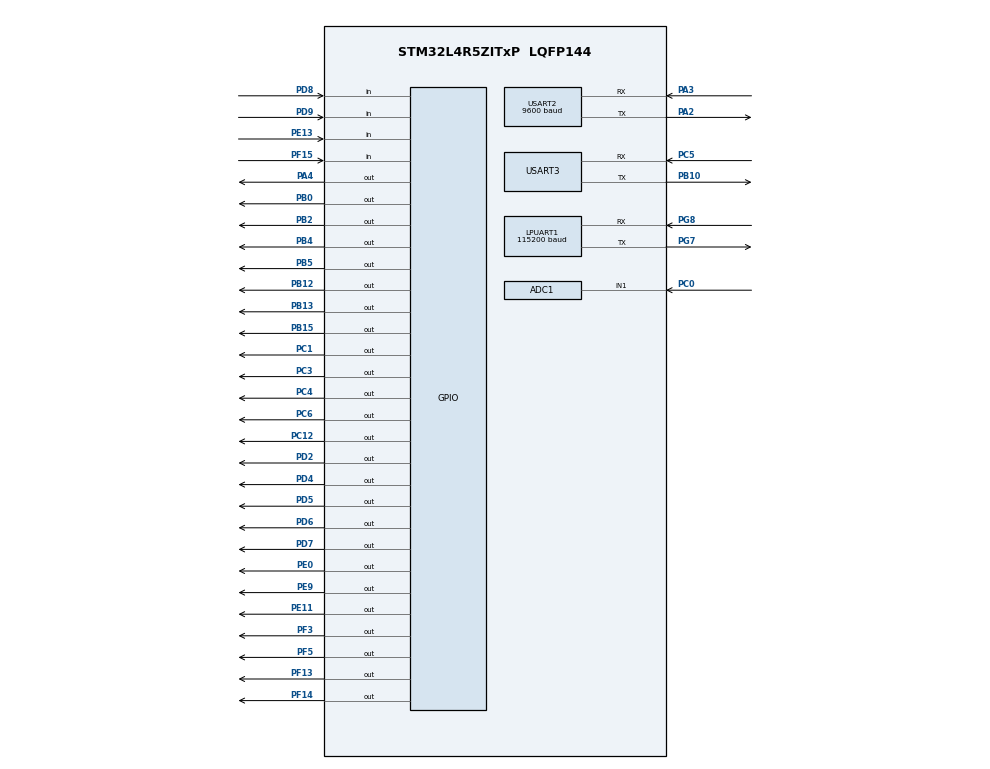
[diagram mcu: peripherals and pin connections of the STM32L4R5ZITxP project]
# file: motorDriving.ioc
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ADC1.Channel-0\#ChannelRegularConversion=ADC_CHANNEL_1
ADC1.ClockPrescaler=ADC_CLOCK_ASYNC_DIV32
ADC1.NbrOfConversionFlag=1
ADC1.OffsetNumber-0\#ChannelRegularConversion=ADC_OFFSET_NONE
ADC1.Rank-0\#ChannelRegularConversion=1
ADC1.SamplingTime-0\#ChannelRegularConversion=ADC_SAMPLETIME_640CYCLES_5
ADC1.master=1
LPUART1.BaudRate=115200
LPUART1.WordLength=UART_WORDLENGTH_8B
Mcu.Family=STM32L4
Mcu.Name=STM32L4R5ZITxP
Mcu.Package=LQFP144
NVIC.PriorityGroup=NVIC_PRIORITYGROUP_4
PA0.Signal=S_TIM2_CH1
PA1.Signal=ADCx_IN6
PA10.Signal=USB_OTG_FS_ID
PA13\ (JTMS/SWDIO).Signal=SYS_JTMS-SWDIO
PA14\ (JTCK/SWCLK).Signal=SYS_JTCK-SWCLK
PA2.Mode=Asynchronous
PA2.Signal=USART2_TX
PA3.Mode=Asynchronous
PA3.Signal=USART2_RX
PA4.Signal=GPIO_Output
PA5.Signal=SPI1_SCK
PA6.Signal=SPI1_MISO
PA7.Signal=SPI1_MOSI
PA8.Signal=USB_OTG_FS_SOF
PA9.Signal=USB_OTG_FS_VBUS
PB0.Signal=GPIO_Output
PB1.Signal=ADCx_IN16
PB10.Mode=Asynchronous
PB10.Signal=USART3_TX
PB12.Signal=GPIO_Output
PB13.Signal=GPIO_Output
PB14.Signal=S_TIM15_CH1
PB15.Signal=GPIO_Output
PB2.Signal=GPIO_Output
PB3\ (JTDO/TRACESWO).Signal=SPI3_SCK
PB4\ (NJTRST).Signal=GPIO_Output
PB5.Signal=GPIO_Output
PB6.Signal=COMP2_INP
PB8.Signal=I2C1_SCL
PB9.Signal=I2C1_SDA
PC0.Signal=ADCx_IN1
PC1.Signal=GPIO_Output
PC10.Signal=SDMMC1_D2
PC11.Signal=SDMMC1_D3
PC12.Signal=GPIO_Output
PC13.Signal=SYS_WKUP2
PC14-OSC32_IN\ (PC14).Signal=RCC_OSC32_IN
PC15-OSC32_OUT\ (PC15).Signal=RCC_OSC32_OUT
PC2.Signal=ADCx_IN3
PC3.Signal=GPIO_Output
PC4.Signal=GPIO_Output
PC5.Mode=Asynchronous
PC5.Signal=USART3_RX
PC6.Signal=GPIO_Output
PC7.Signal=S_TIM3_CH2
PC8.Signal=SDMMC1_D0
PC9.Signal=SDMMC1_D1
PD0.Signal=CAN1_RX
PD14.Signal=S_TIM4_CH3
PD15.Signal=S_TIM4_CH4
PD2.Signal=GPIO_Output
PD3.Signal=USART2_CTS
PD4.Signal=GPIO_Output
PD5.Signal=GPIO_Output
PD6.Signal=GPIO_Output
PD7.Signal=GPIO_Output
PD8.GPIO_PuPd=GPIO_PULLDOWN
PD8.Signal=GPIO_Input
PD9.GPIO_PuPd=GPIO_PULLDOWN
PD9.Signal=GPIO_Input
PE0.Signal=GPIO_Output
PE10.Signal=TIM1_CH2N
PE11.Signal=GPIO_Output
PE12.Signal=TIM1_CH3N
PE13.GPIO_PuPd=GPIO_PULLDOWN
PE13.Signal=GPIO_Input
PE14.Signal=TIM1_BKIN2
PE15.Signal=TIM1_BKIN
PE2.Signal=SAI1_MCLK_A
PE3.Signal=SAI1_SD_B
PE7.Signal=S_TIM1_ETR
PE8.Signal=TIM1_CH1N
PE9.Signal=GPIO_Output
PF0.Signal=I2C2_SDA
PF1.Signal=I2C2_SCL
PF13.Signal=GPIO_Output
PF14.Signal=GPIO_Output
PF15.GPIO_PuPd=GPIO_PULLDOWN
PF15.Signal=GPIO_Input
PF2.Signal=I2C2_SMBA
PF3.Signal=GPIO_Output
PF5.Signal=GPIO_Output
PF7.Signal=SAI1_MCLK_B
PG7.Mode=Asynchronous
PG7.Signal=LPUART1_TX
PG8.Mode=Asynchronous
PG8.Signal=LPUART1_RX
PH0-OSC_IN\ (PH0).Signal=RCC_OSC_IN
PH1-OSC_OUT\ (PH1).Signal=RCC_OSC_OUT
ProjectManager.HeapSize=0x200
ProjectManager.StackSize=0x400
ProjectManager.TargetToolchain=STM32CubeIDE
RCC.ADCFreq_Value=32000000
RCC.HSE_VALUE=8000000
RCC.HSI48_VALUE=48000000
RCC.HSI_VALUE=16000000
RCC.LSE_VALUE=32768
RCC.MSI_VALUE=4000000
RCC.PLLSAI1N=16
RCC.USBFreq_Value=32000000
RCC.VCOOutputFreq_Value=32000000
SH.ADCx_IN1.0=ADC1_IN1,IN1-Single-Ended
SH.ADCx_IN16.0=ADC1_IN16
SH.ADCx_IN3.0=ADC1_IN3
SH.ADCx_IN6.0=ADC1_IN6
SH.S_TIM15_CH1.0=TIM15_CH1
SH.S_TIM1_ETR.0=TIM1_ETR
SH.S_TIM2_CH1.0=TIM2_CH1
SH.S_TIM3_CH2.0=TIM3_CH2
SH.S_TIM4_CH3.0=TIM4_CH3
SH.S_TIM4_CH4.0=TIM4_CH4
USART2.BaudRate=9600
USART2.VirtualMode-Asynchronous=VM_ASYNC
USART3.VirtualMode-Asynchronous=VM_ASYNC
board=NUCLEO-L4R5ZI-P

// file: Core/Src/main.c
/* USER CODE BEGIN Header */
/**
  ******************************************************************************
  * @file           : main.c
  * @brief          : Main program body
  ******************************************************************************
  * @attention
  *
  * Copyright (c) 2023 STMicroelectronics.
  * All rights reserved.
  *
  * This software is licensed under terms that can be found in the LICENSE file
  * in the root directory of this software component.
  * If no LICENSE file comes with this software, it is provided AS-IS.
  *
  ******************************************************************************
  */
/* USER CODE END Header */
#include "main.h"

/* USER CODE BEGIN Includes */
#include "motorController.h"
#include "magnetController.h"
#include "board.h"
#include "display.h"
#include "stdio.h"
/* USER CODE END Includes */

ADC_HandleTypeDef hadc1;

UART_HandleTypeDef hlpuart1;
UART_HandleTypeDef huart2;
UART_HandleTypeDef huart3;

void SystemClock_Config(void);
static void MX_GPIO_Init(void);
static void MX_ADC1_Init(void);
static void MX_USART2_UART_Init(void);
static void MX_USART3_UART_Init(void);
static void MX_LPUART1_UART_Init(void);

/* USER CODE BEGIN 0 */
char* mainMenu[16] = {"MAIN MENU","1.Choose Player Type\0", "2.Choose Piece Color\0","3.Board Configuration\0", "4.Start Game"};
char* colorSel[16] = {"1.Black\0", "2.White\0", "3.Main Menu"};
char* playerType[16] = {"1.Human\0", "2.CPU\0", "3.Main Menu"};
char* difficultyLevel[17] = {"CHOOSE DIFFICULTY\0", "1. level 1\0", "2. level 2\0", "3. level 3\0", "4. level 4\0", "5. level 5\0", "6. level 6\0", "7. level 7\0", "8. level 8\0"};
char* yourTurn[16] = {"Your Turn\0", "1.GO\0"};
char* chooseFirst[30] = {"Who's turn is it?", "1.Black", "2.White"};
char* invalid[16] = {"Invalid Move Try Again\0", "1.GO\0"};
char* gameOver[16] = {"Game Over\0","*White Won*\0" ,"1.Play Again(Main Menu)\0"};
char* configuration[16] = {"1.Default\0","2.Custom\0"};
char* opponentMove[16] = {"Opponent Move\0"};
char* pickPieces[16] = {"\0"};
char* askRow[32] = {"What row?", "1. 1", "2. 2", "3. 3", "4. 4", "5. 5", "6. 6", "7. 7", "8. 8"};
char* askCol[32] = {"What column?", "1. A", "2. B", "3. C", "4. D", "5. E", "6. F", "7. G", "8. H"};
char* askPiece[16] = {"What piece is right?", "1.P     2.p", "3.R     4.r", "5.N     6.n", "7.B     8.b", "9.Q     A.q", "B.K     C.k", "D.-"};
char* errorReadMove[30] = {"Error in reading state", "", "", "Press 1 to go back"};

//opponent Move
char move[5];

enum State {errorReadMoveState, pickPieceState, askPieceState, askColState, askRowState, validBoardState, whoFirst, startScreen, difficulty, color, type, yourMove, wrongMove, endGame, enemyMove, config , init, determineSide};
enum State currState = startScreen;
enum State pastState = init;

//a for ai h for human
char humanAi = 'a';
extern char playerColor;
extern char activeColor;
int defaultBoard = 0;

int selSquareRow = 0;
int selSquareCol = 0;

uint32_t keyValue(GPIO_TypeDef* colPorts[], GPIO_TypeDef* rowPorts[], uint16_t colPins[], uint16_t rowPins[]) {

	uint32_t keyNum = 16;

	for (int i = 0; i < 4; ++i) {
		//HAL_GPIO_WritePin(rowPorts[i], rowPins[i], GPIO_PIN_SET);
		HAL_GPIO_WritePin(colPorts[i], colPins[i], GPIO_PIN_RESET);
	}

	for (int i = 0; i < 4; ++i) {
		HAL_GPIO_WritePin(colPorts[i], colPins[i], GPIO_PIN_SET);

		for (int j = 0; j < 4; ++j) {
			if (HAL_GPIO_ReadPin(rowPorts[j], rowPins[j])) {
				if (i == 0) {
					if (j == 0) {
						keyNum = 1;
					} else if (j == 1) {
						keyNum = 4;
					} else if (j == 2) {
						keyNum = 7;
					} else {
						keyNum = 14; // *
					}

				} else if (i == 1) {
					if (j == 0) {
						keyNum = 2;
					} else if (j == 1) {
						keyNum = 5;
					} else if (j == 2) {
						keyNum = 8;
					} else {
						keyNum = 0;
					}
				} else if (i == 2) {
					if (j == 0) {
						keyNum = 3;
					} else if (j == 1) {
						keyNum = 6;
					} else if (j == 2) {
						keyNum = 9;
					} else {
						keyNum = 15; // #
					}
				} else {
					if (j == 0) {
						keyNum = 10; //A
					} else if (j == 1) {
					 	keyNum = 11; // B
					} else if (j == 2) {
						keyNum = 12; // C
					} else {
						keyNum = 13; // D
					}
				}

			}
		}

		HAL_GPIO_WritePin(colPorts[i], colPins[i], GPIO_PIN_RESET);
	}

	return keyNum;
}

/* USER CODE END 0 */

int main(void)
{

  /* MCU Configuration--------------------------------------------------------*/

  /* Reset of all peripherals, Initializes the Flash interface and the Systick. */
  HAL_Init();

  /* Configure the system clock */
  SystemClock_Config();

  /* Initialize all configured peripherals */
  MX_GPIO_Init();
  MX_ADC1_Init();
  MX_USART2_UART_Init();
  MX_USART3_UART_Init();
  MX_LPUART1_UART_Init();

  /* Infinite loop */
  /* USER CODE BEGIN WHILE */

  /* USER CODE END 2 */

  /* Infinite loop */
  /* USER CODE BEGIN WHILE */
//  struct coordinate coord = convertToCoord("A4");
//  coord = convertToCoord("P7");
  motorSetup();
  clearDisplay();
  makeMenu(5, mainMenu);
  setMagnet(STOP);
//  moveToCoord("A1");
//  moveToCoord("A8");
//  moveToCoord("H8");
//  moveToCoord("H1");
//  moveToCoord("A1");
//  executeInstruction("H1G8", BLACK, QUEEN);
//  moveToCoord("H1");
  calibrate_hall_sensors(board_defaults_calculated);
  print_board(board_defaults_calculated);
////  char* arr[16] = {"Jazib\0", "Jabibi\0","Ahmad\0"};
////  makeMenu(3, arr);
//  struct coordinate location = {2140, 1805};
//  moveToExactCoord(location);
//  location.x=0;
//  location.y=0;
//  moveToExactCoord(location);
  while (1)
  {
	  while(1){
//		blackwhite_readCurrentBoard(board);
		custom_readCurrentBoard(board);
		print_board_char(board);
//		setMagnet(BLACK);
//		setMagnet(WHITE);
//		setMagnet(STOP);
	  }
	 uint32_t keyNum = 16;
	//1:, r2, pd8
	//2:  r3, pf15
	//3:  c1, pf14
	//4:   r4, pe13
	//5:   c2, pe11
	//6:    c3 , pe9
	//7:   c4, pf13
	//8:   r1 , pd14

	//receive key pad input
	GPIO_TypeDef* colPorts[4] = {GPIOF, GPIOE, GPIOE, GPIOF};
	GPIO_TypeDef* rowPorts[4] = {GPIOD, GPIOD, GPIOF, GPIOE};
	uint16_t colPins[4] = {GPIO_PIN_14, GPIO_PIN_11, GPIO_PIN_9, GPIO_PIN_13};
	uint16_t rowPins[4] = {GPIO_PIN_9, GPIO_PIN_8, GPIO_PIN_15, GPIO_PIN_13};
	keyNum = keyValue(colPorts, rowPorts, colPins, rowPins);

//	if(keyNum == 2){
//		stepForward();
//	}
//	if(keyNum == 4){
//		stepLeft();
//	}
//	if(keyNum == 6){
//		stepRight();
//	}
//	if(keyNum == 5){
//		stepBack();
//	}

	pastState = currState;
	if(currState == startScreen){
		if(keyNum == 1){
			currState = type;
		}
		else if(keyNum == 2){
			currState = color;
		}
		else if(keyNum == 3){
			currState = config;
		}
		else if(keyNum == 4){
			if(defaultBoard == 0){
				sendInformation("default setup\r");
			}
			else{
				sendInformation("setup\r");
				char info[100];
				char FEN[80] = "\0";
				boardToFEN(board, FEN);
				sprintf(info, "%s\r", FEN);
				sendInformation(info);
			}
			//based on information of whose turn it is display either opponent or your move
			//easy to figure out if default configuration is setup
			//otherwise if custom then have to wait for XBEE response or from the reading from the board to determine which side to display
			//update variable regarding if its your Move or  enemy Move
			if(activeColor == playerColor){
				currState = yourMove ;
			}
			else{
				currState = enemyMove;
			}
		}
	}
	else if(currState == color)
	{
		if(keyNum == 1){
			playerColor = 'b';
			currState = startScreen;
		}
		else if(keyNum == 2)
		{
			playerColor = 'w';
			currState = startScreen;
		}
		else if(keyNum == 3)
		{
			currState = startScreen;
		}
	}
	else if(currState == type){
		if(keyNum == 1){
			humanAi = 'h';
			currState = startScreen;
		}
		else if(keyNum == 2){
			humanAi = 'a';
			currState = difficulty;
		}
		else if(keyNum == 3){
			currState = startScreen;
		}
	}
	else if(currState == difficulty){
		if(keyNum >= 1 && keyNum <= 8){
			sendInformation("difficulty\r");
			char num[3];
			sprintf(num, "%d\r", keyNum);
			sendInformation(num);
			currState = startScreen;
		}
	}
	else if(currState == config){
		if(keyNum == 1){
			defaultBoard = 0;
			currState = startScreen;
		}
		else if(keyNum == 2){
			defaultBoard = 1;
			char nextBoard[8][8];
			custom_readCurrentBoard(nextBoard);
			updateBoard(nextBoard);
			currState = validBoardState;
		}
	}
	else if(currState == validBoardState){
		//YES
		if(keyNum == 1){
			currState = whoFirst;
		}
		//NO
		else if(keyNum == 2){
			currState = askColState;
		}
	}
	else if(currState == askRowState){
		if(keyNum >= 1 && keyNum <= 8) currState = askPieceState;
		if(keyNum == 1)selSquareRow = 7;
		if(keyNum == 2)selSquareRow = 6;
		if(keyNum == 3)selSquareRow = 5;
		if(keyNum == 4)selSquareRow = 4;
		if(keyNum == 5)selSquareRow = 3;
		if(keyNum == 6)selSquareRow = 2;
		if(keyNum == 7)selSquareRow = 1;
		if(keyNum == 8)selSquareRow = 0;
	}
	else if(currState == askColState){
		if(keyNum >= 1 && keyNum <= 8) currState = askRowState;
		if(keyNum == 1)selSquareCol = 0;
		if(keyNum == 2)selSquareCol = 1;
		if(keyNum == 3)selSquareCol = 2;
		if(keyNum == 4)selSquareCol = 3;
		if(keyNum == 5)selSquareCol = 4;
		if(keyNum == 6)selSquareCol = 5;
		if(keyNum == 7)selSquareCol = 6;
		if(keyNum == 8)selSquareCol = 7;
	}
	else if(currState == askPieceState){
		if(keyNum >= 1 && keyNum <= 13) currState = validBoardState;
		if(keyNum == 1)board[selSquareRow][selSquareCol] = 'P';
		if(keyNum == 2)board[selSquareRow][selSquareCol] = 'p';
		if(keyNum == 3)board[selSquareRow][selSquareCol] = 'R';
		if(keyNum == 4)board[selSquareRow][selSquareCol] = 'r';
		if(keyNum == 5)board[selSquareRow][selSquareCol] = 'N';
		if(keyNum == 6)board[selSquareRow][selSquareCol] = 'n';
		if(keyNum == 7)board[selSquareRow][selSquareCol] = 'B';
		if(keyNum == 8)board[selSquareRow][selSquareCol] = 'b';
		if(keyNum == 9)board[selSquareRow][selSquareCol] = 'Q';
		if(keyNum == 10)board[selSquareRow][selSquareCol] = 'q';
		if(keyNum == 11)board[selSquareRow][selSquareCol] = 'K';
		if(keyNum == 12)board[selSquareRow][selSquareCol] = 'k';
		if(keyNum == 13)board[selSquareRow][selSquareCol] = '-';
	}
	else if(currState == whoFirst){
		if(keyNum == 1){
			activeColor = 'b';
			currState = startScreen;
		}
		else if(keyNum == 2){
			activeColor = 'w';
			currState = startScreen;
		}
	}
	else if(currState == yourMove){
		if(keyNum == 1){
			blackwhite_readCurrentBoard(newBoard);
			char move[5];
			findMoveFromBoards(newBoard, move);
			if(move[0] < 'A' || move[0] > 'H' || move[1] < '1' || move[1] > '8'
			|| move[2] < 'A' || move[2] > 'H' || move[3] < '1' || move[3] > '8'){
				currState = errorReadMoveState;
			}
			else{
				char sentMove[6];
				char trueFalse[6];
				sprintf(sentMove, "%s\r", move);
				sendInformation("check move\r");
				sendInformationGetData(&sentMove, &trueFalse, 6, 1000);
				if(trueFalse[0] == 'F'){
					currState = wrongMove;
				}
				else{
					sendInformation("make move\r");
					sendInformation(sentMove);
					moveOnBoard(move);
			//			currState = wrongMove;
					//else if gameOver(store infroamtion in some variable regarding who won)
		//			currState = endGame;
					//else opponents turn
					currState = enemyMove;
					if(activeColor == 'w') activeColor = 'b';
					else if(activeColor == 'b') activeColor = 'w';
				}
			}
		}
	}
	else if(currState == errorReadMoveState){
		if(keyNum == 1){
			currState = yourMove;
		}
	}
	else if(currState == wrongMove){
		if(keyNum == 1){
			currState = wrongMove;
		}
	}
	else if(currState == endGame){
		if(keyNum == 1){
			currState = startScreen;
		}
	}
	else if(currState == enemyMove){
		if(humanAi == 'a'){
			sendInformationGetData("computer move\r", move, 5, 2500);
		}
		else if(humanAi == 'h'){
			sendInformationGetData("human move\r", move, 5, 10000);
		}
		checkMoveForPickup(move);
		if(numToPickUp > 0){
			currState = pickPieceState;
		}
		else{
			int curColor = (activeColor == 'b') ? BLACK : WHITE;
			executeInstruction(move, curColor);
			moveOnBoard(move);
			if(activeColor == 'w') activeColor = 'b';
			else if(activeColor == 'b') activeColor = 'w';
			currState = yourMove;
			//assume for now that the move wont be invalid but could add a check here where set currstate to invalid move after checking opponent move
			//use xbee data to determine which piece to physically move to allow the motor to work, and if there is a pieve to move change currState
//			currState = pickPieces;
			//othewise  call function to  move the motor
			//once motor is movedd check if game ends and if game ends change currstate to end state after updating variable which piece won
//			currState = endGame;
			//otherwise
//			currState = yourMove;
		}
//		else if(humanAi == 'h'){
//			if(sendInformation("human move\r")){
////				getInformation(4, 50000);
//			}
//		}

	}
	else if(currState == pickPieceState){
		if(keyNum == 1){
			//TODO get knight info here
			executeInstruction(move, activeColor);
			currState = yourMove;
			numToPickUp = 0;
			toPickUp[0][0] = '\0';
			toPickUp[1][0] = '\0';
			toPickUp[2][0] = '\0';
			toPickUp[3][0] = '\0';
			if(activeColor == 'w') activeColor = 'b';
			else if(activeColor == 'b') activeColor = 'w';
		}
	}

	//move the motor
	//read Xvee data
	//read the board

	if(pastState != currState){
		if(currState == startScreen){
			makeMenu(5, mainMenu);
		}
		else if(currState == color){
			makeMenu(3, colorSel);
		}
		else if(currState == type){
			makeMenu(3, playerType);
		}
		else if(currState == difficulty){
			makeMenu(9, difficultyLevel);
		}
		else if(currState == yourMove){
			 makeMenu(2, yourTurn);
		}
		else if(currState == errorReadMoveState){
			makeMenu(4, errorReadMove);
		}
		else if(currState == pickPieceState){
			char* trigger[7];
			trigger[0] = "Pick up pieces at:";
			trigger[1] = toPickUp[0];
			trigger[2] = toPickUp[1];
			trigger[3] = toPickUp[2];
			trigger[4] = toPickUp[3];
			trigger[5] = "Press 1 to confirm";
			makeMenu(6, trigger);
		}
		else if(currState == wrongMove){
				makeMenu(2, invalid);
		}
		else if(currState == endGame ){
				makeMenu(2, gameOver);
		}
		else if(currState == enemyMove){
				makeMenu(2, opponentMove);
		}
		else if(currState == config){
			makeMenu(2, configuration);
		}
		else if(currState == validBoardState){
			displayChess(board);
			HAL_Delay(1000);
		}
		else if(currState == askRowState){
			makeMenu(9, askRow);
		}
		else if(currState == askColState){
			makeMenu(9, askCol);
		}
		else if(currState == askPieceState){
			makeMenu(8, askPiece);
		}
		else if(currState == whoFirst){
			makeMenu(3, chooseFirst);
		}
	}

	}
    /* USER CODE END WHILE */

}

void SystemClock_Config(void)
{
  RCC_OscInitTypeDef RCC_OscInitStruct = {0};
  RCC_ClkInitTypeDef RCC_ClkInitStruct = {0};

  /** Configure the main internal regulator output voltage
  */
  if (HAL_PWREx_ControlVoltageScaling(PWR_REGULATOR_VOLTAGE_SCALE1) != HAL_OK)
  {
    Error_Handler();
  }

  /** Initializes the RCC Oscillators according to the specified parameters
  * in the RCC_OscInitTypeDef structure.
  */
  RCC_OscInitStruct.OscillatorType = RCC_OSCILLATORTYPE_MSI;
  RCC_OscInitStruct.MSIState = RCC_MSI_ON;
  RCC_OscInitStruct.MSICalibrationValue = 0;
  RCC_OscInitStruct.MSIClockRange = RCC_MSIRANGE_6;
  RCC_OscInitStruct.PLL.PLLState = RCC_PLL_NONE;
  if (HAL_RCC_OscConfig(&RCC_OscInitStruct) != HAL_OK)
  {
    Error_Handler();
  }

  /** Initializes the CPU, AHB and APB buses clocks
  */
  RCC_ClkInitStruct.ClockType = RCC_CLOCKTYPE_HCLK|RCC_CLOCKTYPE_SYSCLK
                              |RCC_CLOCKTYPE_PCLK1|RCC_CLOCKTYPE_PCLK2;
  RCC_ClkInitStruct.SYSCLKSource = RCC_SYSCLKSOURCE_MSI;
  RCC_ClkInitStruct.AHBCLKDivider = RCC_SYSCLK_DIV1;
  RCC_ClkInitStruct.APB1CLKDivider = RCC_HCLK_DIV1;
  RCC_ClkInitStruct.APB2CLKDivider = RCC_HCLK_DIV1;

  if (HAL_RCC_ClockConfig(&RCC_ClkInitStruct, FLASH_LATENCY_0) != HAL_OK)
  {
    Error_Handler();
  }
}

static void MX_ADC1_Init(void)
{

  ADC_ChannelConfTypeDef sConfig = {0};

  /** Common config
  */
  hadc1.Instance = ADC1;
  hadc1.Init.ClockPrescaler = ADC_CLOCK_ASYNC_DIV32;
  hadc1.Init.Resolution = ADC_RESOLUTION_12B;
  hadc1.Init.DataAlign = ADC_DATAALIGN_RIGHT;
  hadc1.Init.ScanConvMode = ADC_SCAN_DISABLE;
  hadc1.Init.EOCSelection = ADC_EOC_SINGLE_CONV;
  hadc1.Init.LowPowerAutoWait = DISABLE;
  hadc1.Init.ContinuousConvMode = DISABLE;
  hadc1.Init.NbrOfConversion = 1;
  hadc1.Init.DiscontinuousConvMode = DISABLE;
  hadc1.Init.ExternalTrigConv = ADC_SOFTWARE_START;
  hadc1.Init.ExternalTrigConvEdge = ADC_EXTERNALTRIGCONVEDGE_NONE;
  hadc1.Init.DMAContinuousRequests = DISABLE;
  hadc1.Init.Overrun = ADC_OVR_DATA_PRESERVED;
  hadc1.Init.OversamplingMode = DISABLE;
  if (HAL_ADC_Init(&hadc1) != HAL_OK)
  {
    Error_Handler();
  }

  /** Configure Regular Channel
  */
  sConfig.Channel = ADC_CHANNEL_1;
  sConfig.Rank = ADC_REGULAR_RANK_1;
  sConfig.SamplingTime = ADC_SAMPLETIME_640CYCLES_5;
  sConfig.SingleDiff = ADC_SINGLE_ENDED;
  sConfig.OffsetNumber = ADC_OFFSET_NONE;
  sConfig.Offset = 0;
  if (HAL_ADC_ConfigChannel(&hadc1, &sConfig) != HAL_OK)
  {
    Error_Handler();
  }

}

static void MX_LPUART1_UART_Init(void)
{

  hlpuart1.Instance = LPUART1;
  hlpuart1.Init.BaudRate = 115200;
  hlpuart1.Init.WordLength = UART_WORDLENGTH_8B;
  hlpuart1.Init.StopBits = UART_STOPBITS_1;
  hlpuart1.Init.Parity = UART_PARITY_NONE;
  hlpuart1.Init.Mode = UART_MODE_TX_RX;
  hlpuart1.Init.HwFlowCtl = UART_HWCONTROL_NONE;
  hlpuart1.Init.OneBitSampling = UART_ONE_BIT_SAMPLE_DISABLE;
  hlpuart1.Init.ClockPrescaler = UART_PRESCALER_DIV1;
  hlpuart1.AdvancedInit.AdvFeatureInit = UART_ADVFEATURE_NO_INIT;
  hlpuart1.FifoMode = UART_FIFOMODE_DISABLE;
  if (HAL_UART_Init(&hlpuart1) != HAL_OK)
  {
    Error_Handler();
  }
  if (HAL_UARTEx_SetTxFifoThreshold(&hlpuart1, UART_TXFIFO_THRESHOLD_1_8) != HAL_OK)
  {
    Error_Handler();
  }
  if (HAL_UARTEx_SetRxFifoThreshold(&hlpuart1, UART_RXFIFO_THRESHOLD_1_8) != HAL_OK)
  {
    Error_Handler();
  }
  if (HAL_UARTEx_DisableFifoMode(&hlpuart1) != HAL_OK)
  {
    Error_Handler();
  }

}

static void MX_USART2_UART_Init(void)
{

  huart2.Instance = USART2;
  huart2.Init.BaudRate = 9600;
  huart2.Init.WordLength = UART_WORDLENGTH_8B;
  huart2.Init.StopBits = UART_STOPBITS_1;
  huart2.Init.Parity = UART_PARITY_NONE;
  huart2.Init.Mode = UART_MODE_TX_RX;
  huart2.Init.HwFlowCtl = UART_HWCONTROL_NONE;
  huart2.Init.OverSampling = UART_OVERSAMPLING_16;
  huart2.Init.OneBitSampling = UART_ONE_BIT_SAMPLE_DISABLE;
  huart2.Init.ClockPrescaler = UART_PRESCALER_DIV1;
  huart2.AdvancedInit.AdvFeatureInit = UART_ADVFEATURE_NO_INIT;
  if (HAL_UART_Init(&huart2) != HAL_OK)
  {
    Error_Handler();
  }
  if (HAL_UARTEx_SetTxFifoThreshold(&huart2, UART_TXFIFO_THRESHOLD_1_8) != HAL_OK)
  {
    Error_Handler();
  }
  if (HAL_UARTEx_SetRxFifoThreshold(&huart2, UART_RXFIFO_THRESHOLD_1_8) != HAL_OK)
  {
    Error_Handler();
  }
  if (HAL_UARTEx_DisableFifoMode(&huart2) != HAL_OK)
  {
    Error_Handler();
  }

}

static void MX_USART3_UART_Init(void)
{

  huart3.Instance = USART3;
  huart3.Init.BaudRate = 115200;
  huart3.Init.WordLength = UART_WORDLENGTH_8B;
  huart3.Init.StopBits = UART_STOPBITS_1;
  huart3.Init.Parity = UART_PARITY_NONE;
  huart3.Init.Mode = UART_MODE_TX_RX;
  huart3.Init.HwFlowCtl = UART_HWCONTROL_NONE;
  huart3.Init.OverSampling = UART_OVERSAMPLING_16;
  huart3.Init.OneBitSampling = UART_ONE_BIT_SAMPLE_DISABLE;
  huart3.Init.ClockPrescaler = UART_PRESCALER_DIV1;
  huart3.AdvancedInit.AdvFeatureInit = UART_ADVFEATURE_NO_INIT;
  if (HAL_UART_Init(&huart3) != HAL_OK)
  {
    Error_Handler();
  }
  if (HAL_UARTEx_SetTxFifoThreshold(&huart3, UART_TXFIFO_THRESHOLD_1_8) != HAL_OK)
  {
    Error_Handler();
  }
  if (HAL_UARTEx_SetRxFifoThreshold(&huart3, UART_RXFIFO_THRESHOLD_1_8) != HAL_OK)
  {
    Error_Handler();
  }
  if (HAL_UARTEx_DisableFifoMode(&huart3) != HAL_OK)
  {
    Error_Handler();
  }

}

static void MX_GPIO_Init(void)
{
  GPIO_InitTypeDef GPIO_InitStruct = {0};

  /* GPIO Ports Clock Enable */
  __HAL_RCC_GPIOE_CLK_ENABLE();
  __HAL_RCC_GPIOC_CLK_ENABLE();
  __HAL_RCC_GPIOF_CLK_ENABLE();
  __HAL_RCC_GPIOH_CLK_ENABLE();
  __HAL_RCC_GPIOA_CLK_ENABLE();
  __HAL_RCC_GPIOB_CLK_ENABLE();
  __HAL_RCC_GPIOD_CLK_ENABLE();
  __HAL_RCC_GPIOG_CLK_ENABLE();
  HAL_PWREx_EnableVddIO2();

  /*Configure GPIO pin Output Level */
  HAL_GPIO_WritePin(GPIOF, GPIO_PIN_3|GPIO_PIN_5|GPIO_PIN_13|GPIO_PIN_14, GPIO_PIN_RESET);

  /*Configure GPIO pin Output Level */
  HAL_GPIO_WritePin(GPIOC, GPIO_PIN_1|GPIO_PIN_3|GPIO_PIN_4|GPIO_PIN_6
                          |GPIO_PIN_12, GPIO_PIN_RESET);

  /*Configure GPIO pin Output Level */
  HAL_GPIO_WritePin(GPIOA, GPIO_PIN_4, GPIO_PIN_RESET);

  /*Configure GPIO pin Output Level */
  HAL_GPIO_WritePin(GPIOB, GPIO_PIN_0|GPIO_PIN_2|GPIO_PIN_12|GPIO_PIN_13
                          |GPIO_PIN_15|GPIO_PIN_4|GPIO_PIN_5, GPIO_PIN_RESET);

  /*Configure GPIO pin Output Level */
  HAL_GPIO_WritePin(GPIOE, GPIO_PIN_9|GPIO_PIN_11|GPIO_PIN_0, GPIO_PIN_RESET);

  /*Configure GPIO pin Output Level */
  HAL_GPIO_WritePin(GPIOD, GPIO_PIN_2|GPIO_PIN_4|GPIO_PIN_5|GPIO_PIN_6
                          |GPIO_PIN_7, GPIO_PIN_RESET);

  /*Configure GPIO pins : PE2 PE3 */
  GPIO_InitStruct.Pin = GPIO_PIN_2|GPIO_PIN_3;
  GPIO_InitStruct.Mode = GPIO_MODE_AF_PP;
  GPIO_InitStruct.Pull = GPIO_NOPULL;
  GPIO_InitStruct.Speed = GPIO_SPEED_FREQ_LOW;
  GPIO_InitStruct.Alternate = GPIO_AF13_SAI1;
  HAL_GPIO_Init(GPIOE, &GPIO_InitStruct);

  /*Configure GPIO pins : PF0 PF1 PF2 */
  GPIO_InitStruct.Pin = GPIO_PIN_0|GPIO_PIN_1|GPIO_PIN_2;
  GPIO_InitStruct.Mode = GPIO_MODE_AF_OD;
  GPIO_InitStruct.Pull = GPIO_NOPULL;
  GPIO_InitStruct.Speed = GPIO_SPEED_FREQ_VERY_HIGH;
  GPIO_InitStruct.Alternate = GPIO_AF4_I2C2;
  HAL_GPIO_Init(GPIOF, &GPIO_InitStruct);

  /*Configure GPIO pins : PF3 PF5 PF13 PF14 */
  GPIO_InitStruct.Pin = GPIO_PIN_3|GPIO_PIN_5|GPIO_PIN_13|GPIO_PIN_14;
  GPIO_InitStruct.Mode = GPIO_MODE_OUTPUT_PP;
  GPIO_InitStruct.Pull = GPIO_NOPULL;
  GPIO_InitStruct.Speed = GPIO_SPEED_FREQ_LOW;
  HAL_GPIO_Init(GPIOF, &GPIO_InitStruct);

  /*Configure GPIO pin : PF7 */
  GPIO_InitStruct.Pin = GPIO_PIN_7;
  GPIO_InitStruct.Mode = GPIO_MODE_AF_PP;
  GPIO_InitStruct.Pull = GPIO_NOPULL;
  GPIO_InitStruct.Speed = GPIO_SPEED_FREQ_LOW;
  GPIO_InitStruct.Alternate = GPIO_AF13_SAI1;
  HAL_GPIO_Init(GPIOF, &GPIO_InitStruct);

  /*Configure GPIO pins : PC1 PC3 PC4 PC6
                           PC12 */
  GPIO_InitStruct.Pin = GPIO_PIN_1|GPIO_PIN_3|GPIO_PIN_4|GPIO_PIN_6
                          |GPIO_PIN_12;
  GPIO_InitStruct.Mode = GPIO_MODE_OUTPUT_PP;
  GPIO_InitStruct.Pull = GPIO_NOPULL;
  GPIO_InitStruct.Speed = GPIO_SPEED_FREQ_LOW;
  HAL_GPIO_Init(GPIOC, &GPIO_InitStruct);

  /*Configure GPIO pin : PA0 */
  GPIO_InitStruct.Pin = GPIO_PIN_0;
  GPIO_InitStruct.Mode = GPIO_MODE_AF_PP;
  GPIO_InitStruct.Pull = GPIO_NOPULL;
  GPIO_InitStruct.Speed = GPIO_SPEED_FREQ_LOW;
  GPIO_InitStruct.Alternate = GPIO_AF1_TIM2;
  HAL_GPIO_Init(GPIOA, &GPIO_InitStruct);

  /*Configure GPIO pin : PA4 */
  GPIO_InitStruct.Pin = GPIO_PIN_4;
  GPIO_InitStruct.Mode = GPIO_MODE_OUTPUT_PP;
  GPIO_InitStruct.Pull = GPIO_NOPULL;
  GPIO_InitStruct.Speed = GPIO_SPEED_FREQ_LOW;
  HAL_GPIO_Init(GPIOA, &GPIO_InitStruct);

  /*Configure GPIO pins : PA5 PA6 PA7 */
  GPIO_InitStruct.Pin = GPIO_PIN_5|GPIO_PIN_6|GPIO_PIN_7;
  GPIO_InitStruct.Mode = GPIO_MODE_AF_PP;
  GPIO_InitStruct.Pull = GPIO_NOPULL;
  GPIO_InitStruct.Speed = GPIO_SPEED_FREQ_VERY_HIGH;
  GPIO_InitStruct.Alternate = GPIO_AF5_SPI1;
  HAL_GPIO_Init(GPIOA, &GPIO_InitStruct);

  /*Configure GPIO pins : PB0 PB2 PB12 PB13
                           PB15 PB4 PB5 */
  GPIO_InitStruct.Pin = GPIO_PIN_0|GPIO_PIN_2|GPIO_PIN_12|GPIO_PIN_13
                          |GPIO_PIN_15|GPIO_PIN_4|GPIO_PIN_5;
  GPIO_InitStruct.Mode = GPIO_MODE_OUTPUT_PP;
  GPIO_InitStruct.Pull = GPIO_NOPULL;
  GPIO_InitStruct.Speed = GPIO_SPEED_FREQ_LOW;
  HAL_GPIO_Init(GPIOB, &GPIO_InitStruct);

  /*Configure GPIO pin : PF15 */
  GPIO_InitStruct.Pin = GPIO_PIN_15;
  GPIO_InitStruct.Mode = GPIO_MODE_INPUT;
  GPIO_InitStruct.Pull = GPIO_PULLDOWN;
  HAL_GPIO_Init(GPIOF, &GPIO_InitStruct);

  /*Configure GPIO pins : PE7 PE8 PE10 PE12 */
  GPIO_InitStruct.Pin = GPIO_PIN_7|GPIO_PIN_8|GPIO_PIN_10|GPIO_PIN_12;
  GPIO_InitStruct.Mode = GPIO_MODE_AF_PP;
  GPIO_InitStruct.Pull = GPIO_NOPULL;
  GPIO_InitStruct.Speed = GPIO_SPEED_FREQ_LOW;
  GPIO_InitStruct.Alternate = GPIO_AF1_TIM1;
  HAL_GPIO_Init(GPIOE, &GPIO_InitStruct);

  /*Configure GPIO pins : PE9 PE11 PE0 */
  GPIO_InitStruct.Pin = GPIO_PIN_9|GPIO_PIN_11|GPIO_PIN_0;
  GPIO_InitStruct.Mode = GPIO_MODE_OUTPUT_PP;
  GPIO_InitStruct.Pull = GPIO_NOPULL;
  GPIO_InitStruct.Speed = GPIO_SPEED_FREQ_LOW;
  HAL_GPIO_Init(GPIOE, &GPIO_InitStruct);

  /*Configure GPIO pin : PE13 */
  GPIO_InitStruct.Pin = GPIO_PIN_13;
  GPIO_InitStruct.Mode = GPIO_MODE_INPUT;
  GPIO_InitStruct.Pull = GPIO_PULLDOWN;
  HAL_GPIO_Init(GPIOE, &GPIO_InitStruct);

  /*Configure GPIO pins : PE14 PE15 */
  GPIO_InitStruct.Pin = GPIO_PIN_14|GPIO_PIN_15;
  GPIO_InitStruct.Mode = GPIO_MODE_AF_PP;
  GPIO_InitStruct.Pull = GPIO_NOPULL;
  GPIO_InitStruct.Speed = GPIO_SPEED_FREQ_LOW;
  GPIO_InitStruct.Alternate = GPIO_AF3_TIM1_COMP1;
  HAL_GPIO_Init(GPIOE, &GPIO_InitStruct);

  /*Configure GPIO pin : PB14 */
  GPIO_InitStruct.Pin = GPIO_PIN_14;
  GPIO_InitStruct.Mode = GPIO_MODE_AF_PP;
  GPIO_InitStruct.Pull = GPIO_NOPULL;
  GPIO_InitStruct.Speed = GPIO_SPEED_FREQ_LOW;
  GPIO_InitStruct.Alternate = GPIO_AF14_TIM15;
  HAL_GPIO_Init(GPIOB, &GPIO_InitStruct);

  /*Configure GPIO pins : PD8 PD9 */
  GPIO_InitStruct.Pin = GPIO_PIN_8|GPIO_PIN_9;
  GPIO_InitStruct.Mode = GPIO_MODE_INPUT;
  GPIO_InitStruct.Pull = GPIO_PULLDOWN;
  HAL_GPIO_Init(GPIOD, &GPIO_InitStruct);

  /*Configure GPIO pins : PD14 PD15 */
  GPIO_InitStruct.Pin = GPIO_PIN_14|GPIO_PIN_15;
  GPIO_InitStruct.Mode = GPIO_MODE_AF_PP;
  GPIO_InitStruct.Pull = GPIO_NOPULL;
  GPIO_InitStruct.Speed = GPIO_SPEED_FREQ_LOW;
  GPIO_InitStruct.Alternate = GPIO_AF2_TIM4;
  HAL_GPIO_Init(GPIOD, &GPIO_InitStruct);

  /*Configure GPIO pin : PC7 */
  GPIO_InitStruct.Pin = GPIO_PIN_7;
  GPIO_InitStruct.Mode = GPIO_MODE_AF_PP;
  GPIO_InitStruct.Pull = GPIO_NOPULL;
  GPIO_InitStruct.Speed = GPIO_SPEED_FREQ_LOW;
  GPIO_InitStruct.Alternate = GPIO_AF2_TIM3;
  HAL_GPIO_Init(GPIOC, &GPIO_InitStruct);

  /*Configure GPIO pins : PC8 PC9 PC10 PC11 */
  GPIO_InitStruct.Pin = GPIO_PIN_8|GPIO_PIN_9|GPIO_PIN_10|GPIO_PIN_11;
  GPIO_InitStruct.Mode = GPIO_MODE_AF_PP;
  GPIO_InitStruct.Pull = GPIO_NOPULL;
  GPIO_InitStruct.Speed = GPIO_SPEED_FREQ_VERY_HIGH;
  GPIO_InitStruct.Alternate = GPIO_AF12_SDMMC1;
  HAL_GPIO_Init(GPIOC, &GPIO_InitStruct);

  /*Configure GPIO pins : PA8 PA10 */
  GPIO_InitStruct.Pin = GPIO_PIN_8|GPIO_PIN_10;
  GPIO_InitStruct.Mode = GPIO_MODE_AF_PP;
  GPIO_InitStruct.Pull = GPIO_NOPULL;
  GPIO_InitStruct.Speed = GPIO_SPEED_FREQ_VERY_HIGH;
  GPIO_InitStruct.Alternate = GPIO_AF10_OTG_FS;
  HAL_GPIO_Init(GPIOA, &GPIO_InitStruct);

  /*Configure GPIO pin : PA9 */
  GPIO_InitStruct.Pin = GPIO_PIN_9;
  GPIO_InitStruct.Mode = GPIO_MODE_INPUT;
  GPIO_InitStruct.Pull = GPIO_NOPULL;
  HAL_GPIO_Init(GPIOA, &GPIO_InitStruct);

  /*Configure GPIO pin : PD0 */
  GPIO_InitStruct.Pin = GPIO_PIN_0;
  GPIO_InitStruct.Mode = GPIO_MODE_AF_PP;
  GPIO_InitStruct.Pull = GPIO_NOPULL;
  GPIO_InitStruct.Speed = GPIO_SPEED_FREQ_VERY_HIGH;
  GPIO_InitStruct.Alternate = GPIO_AF9_CAN1;
  HAL_GPIO_Init(GPIOD, &GPIO_InitStruct);

  /*Configure GPIO pins : PD2 PD4 PD5 PD6
                           PD7 */
  GPIO_InitStruct.Pin = GPIO_PIN_2|GPIO_PIN_4|GPIO_PIN_5|GPIO_PIN_6
                          |GPIO_PIN_7;
  GPIO_InitStruct.Mode = GPIO_MODE_OUTPUT_PP;
  GPIO_InitStruct.Pull = GPIO_NOPULL;
  GPIO_InitStruct.Speed = GPIO_SPEED_FREQ_LOW;
  HAL_GPIO_Init(GPIOD, &GPIO_InitStruct);

  /*Configure GPIO pin : PB3 */
  GPIO_InitStruct.Pin = GPIO_PIN_3;
  GPIO_InitStruct.Mode = GPIO_MODE_AF_PP;
  GPIO_InitStruct.Pull = GPIO_NOPULL;
  GPIO_InitStruct.Speed = GPIO_SPEED_FREQ_VERY_HIGH;
  GPIO_InitStruct.Alternate = GPIO_AF6_SPI3;
  HAL_GPIO_Init(GPIOB, &GPIO_InitStruct);

  /*Configure GPIO pin : PB6 */
  GPIO_InitStruct.Pin = GPIO_PIN_6;
  GPIO_InitStruct.Mode = GPIO_MODE_ANALOG;
  GPIO_InitStruct.Pull = GPIO_NOPULL;
  HAL_GPIO_Init(GPIOB, &GPIO_InitStruct);

  /*Configure GPIO pins : PB8 PB9 */
  GPIO_InitStruct.Pin = GPIO_PIN_8|GPIO_PIN_9;
  GPIO_InitStruct.Mode = GPIO_MODE_AF_OD;
  GPIO_InitStruct.Pull = GPIO_NOPULL;
  GPIO_InitStruct.Speed = GPIO_SPEED_FREQ_VERY_HIGH;
  GPIO_InitStruct.Alternate = GPIO_AF4_I2C1;
  HAL_GPIO_Init(GPIOB, &GPIO_InitStruct);

}

/* USER CODE BEGIN 4 */
#ifdef __GNUC__
#define PUTCHAR_PROTOTYPE int __io_putchar(int ch)
#else
  #define PUTCHAR_PROTOTYPE int fputc(int ch, FILE *f)
#endif /* __GNUC__ */
PUTCHAR_PROTOTYPE
{
  HAL_UART_Transmit(&hlpuart1, (uint8_t *)&ch, 1, 0xFFFF);
  return ch;
}
/* USER CODE END 4 */

void Error_Handler(void)
{
  __disable_irq();
  while (1)
  {
  }
}
